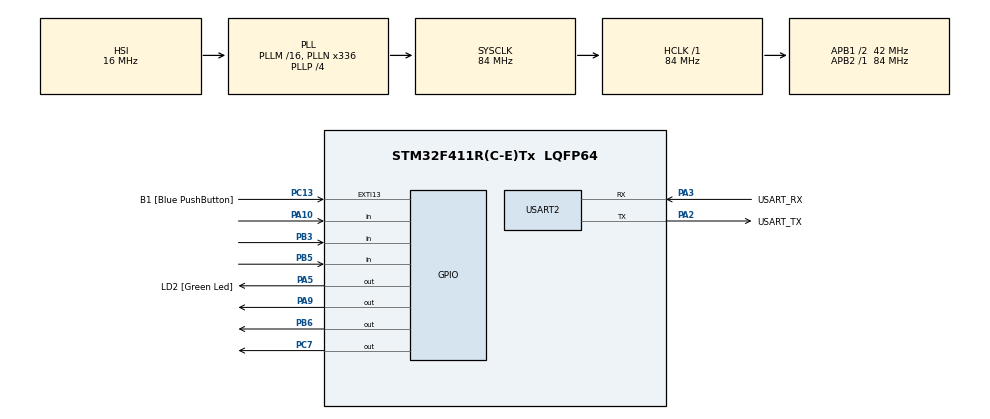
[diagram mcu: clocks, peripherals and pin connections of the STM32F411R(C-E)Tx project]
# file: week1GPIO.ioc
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Mcu.Family=STM32F4
Mcu.Name=STM32F411R(C-E)Tx
Mcu.Package=LQFP64
NVIC.PriorityGroup=NVIC_PRIORITYGROUP_0
PA10.Signal=GPIO_Input
PA13.GPIO_Label=TMS
PA13.Mode=Serial_Wire
PA13.Signal=SYS_JTMS-SWDIO
PA14.GPIO_Label=TCK
PA14.Mode=Serial_Wire
PA14.Signal=SYS_JTCK-SWCLK
PA2.GPIO_Label=USART_TX
PA2.Mode=Asynchronous
PA2.Signal=USART2_TX
PA3.GPIO_Label=USART_RX
PA3.Mode=Asynchronous
PA3.Signal=USART2_RX
PA5.GPIO_Label=LD2 [Green Led]
PA5.Signal=GPIO_Output
PA9.Signal=GPIO_Output
PB3.Signal=GPIO_Input
PB5.Signal=GPIO_Input
PB6.Signal=GPIO_Output
PC13-ANTI_TAMP.GPIO_Label=B1 [Blue PushButton]
PC13-ANTI_TAMP.GPIO_ModeDefaultEXTI=GPIO_MODE_IT_FALLING
PC13-ANTI_TAMP.Signal=GPXTI13
PC14-OSC32_IN.Mode=LSE-External-Oscillator
PC14-OSC32_IN.Signal=RCC_OSC32_IN
PC15-OSC32_OUT.Mode=LSE-External-Oscillator
PC15-OSC32_OUT.Signal=RCC_OSC32_OUT
PC7.Signal=GPIO_Output
PH0\ -\ OSC_IN.Mode=HSE-External-Clock-Source
PH0\ -\ OSC_IN.Signal=RCC_OSC_IN
PH1\ -\ OSC_OUT.Mode=HSE-External-Clock-Source
PH1\ -\ OSC_OUT.Signal=RCC_OSC_OUT
ProjectManager.HeapSize=0x200
ProjectManager.StackSize=0x400
ProjectManager.TargetToolchain=STM32CubeIDE
RCC.48MHZClocksFreq_Value=84000000
RCC.AHBFreq_Value=84000000
RCC.APB1CLKDivider=RCC_HCLK_DIV2
RCC.APB1Freq_Value=42000000
RCC.APB1TimFreq_Value=84000000
RCC.APB2Freq_Value=84000000
RCC.APB2TimFreq_Value=84000000
RCC.CortexFreq_Value=84000000
RCC.FLatency-AdvancedSettings=FLASH_LATENCY_2
RCC.HCLKFreq_Value=84000000
RCC.HSE_VALUE=8000000
RCC.HSI_VALUE=16000000
RCC.PLLN=336
RCC.PLLP=RCC_PLLP_DIV4
RCC.SYSCLKFreq_VALUE=84000000
RCC.SYSCLKSource=RCC_SYSCLKSOURCE_PLLCLK
RCC.VCOOutputFreq_Value=336000000
USART2.VirtualMode=VM_ASYNC
board=NUCLEO-F411RE

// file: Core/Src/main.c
/* USER CODE BEGIN Header */
/**
  ******************************************************************************
  * @file           : main.c
  * @brief          : Main program body
  ******************************************************************************
  * @attention
  *
  * <h2><center>&copy; Copyright (c) 2021 STMicroelectronics.
  * All rights reserved.</center></h2>
  *
  * This software component is licensed by ST under BSD 3-Clause license,
  * the "License"; You may not use this file except in compliance with the
  * License. You may obtain a copy of the License at:
  *                        opensource.org/licenses/BSD-3-Clause
  *
  ******************************************************************************
  */
/* USER CODE END Header */
#include "main.h"

UART_HandleTypeDef huart2;

void SystemClock_Config(void);
static void MX_GPIO_Init(void);
static void MX_USART2_UART_Init(void);

int main(void)
{
  /* USER CODE BEGIN 1 */
	// kuy

  /* USER CODE END 1 */

  /* MCU Configuration--------------------------------------------------------*/

  /* Reset of all peripherals, Initializes the Flash interface and the Systick. */
  HAL_Init();

  /* Configure the system clock */
  SystemClock_Config();

  /* Initialize all configured peripherals */
  MX_GPIO_Init();
  MX_USART2_UART_Init();
  /* USER CODE BEGIN 2 */
  GPIO_PinState SwitchState1[2] ; //NOW,last
  GPIO_PinState SwitchState2[2] ;
  GPIO_PinState SwitchState3[2] ;
  uint16_t LED3_state= 0;
  uint16_t LED1_haftT= 1000;//0.5hz
  uint16_t LED5_onT=500 ;
  uint16_t LED5_offT=1500 ;
  uint32_t runtime=0;
  uint32_t runtime2=0;
  uint32_t timestamp=0;
  uint32_t x=0;
  /* USER CODE END 2 */

  /* Infinite loop */
  /* USER CODE BEGIN WHILE */
  while (1)
  {
	  if (HAL_GetTick()- timestamp>=100)
	  { timestamp=HAL_GetTick();
	 SwitchState1[0]= HAL_GPIO_ReadPin(GPIOA, GPIO_PIN_10); //press == LOW
	 SwitchState2[0]= HAL_GPIO_ReadPin(GPIOB, GPIO_PIN_3);
	 SwitchState3[0]= HAL_GPIO_ReadPin(GPIOB, GPIO_PIN_5);
	 if (SwitchState1[1]== GPIO_PIN_SET && SwitchState1[0]== GPIO_PIN_RESET )
	 {
		 if(LED1_haftT==1000)
		 {
			 LED1_haftT=500;
		 }
		 else if (LED1_haftT==500)
		 { LED1_haftT=250;
		 }
		 else if (LED1_haftT==250)
		 { LED1_haftT=166;
		 }
		 else
		{
			 LED1_haftT = 1000 ;
		}
	 }
	 SwitchState1[1]=SwitchState1[0];
	 if (SwitchState2[1]== GPIO_PIN_SET && SwitchState2[0]== GPIO_PIN_RESET )
	 	 {
	 		LED3_state =(LED3_state^=1); //XOR
	 		HAL_GPIO_WritePin(GPIOC, GPIO_PIN_7, LED3_state);
	 	 }
	 	 SwitchState2[1]=SwitchState2[0];
	 	if (SwitchState3[1]== GPIO_PIN_SET && SwitchState3[0]== GPIO_PIN_RESET )
	 		 	 {
	 		 		uint16_t save_state= LED5_onT;
	 		 		LED5_onT=LED5_offT;
	 		 		LED5_offT=save_state;

	 		 	 }
	 		 	 SwitchState3[1]=SwitchState3[0];

	  }
	 if (HAL_GetTick()-runtime>= LED1_haftT)
	 {
		 runtime= HAL_GetTick();//ms
		 if (HAL_GPIO_ReadPin(GPIOA, GPIO_PIN_9)==0)
		 {
			 HAL_GPIO_WritePin(GPIOA, GPIO_PIN_9, 1);
		 }
		 else
		 {
			 HAL_GPIO_WritePin(GPIOA, GPIO_PIN_9, 0);
		 }
	 }
	 if (runtime2<=LED5_onT)
	 {
	 HAL_GPIO_WritePin(GPIOB, GPIO_PIN_6, 1);
	 }
	 else if (runtime2>=2000)
	 	 {
	 	  x=x+1;
	 	 }
	 else if (runtime2>=LED5_onT)
	 {
		 HAL_GPIO_WritePin(GPIOB, GPIO_PIN_6, 0);
	 }

	 runtime2=HAL_GetTick()-(x*2000);

//testbunch

//testmyyy

    /* USER CODE END WHILE */

  }
}

void SystemClock_Config(void)
{
  RCC_OscInitTypeDef RCC_OscInitStruct = {0};
  RCC_ClkInitTypeDef RCC_ClkInitStruct = {0};

  /** Configure the main internal regulator output voltage
  */
  __HAL_RCC_PWR_CLK_ENABLE();
  __HAL_PWR_VOLTAGESCALING_CONFIG(PWR_REGULATOR_VOLTAGE_SCALE1);
  /** Initializes the RCC Oscillators according to the specified parameters
  * in the RCC_OscInitTypeDef structure.
  */
  RCC_OscInitStruct.OscillatorType = RCC_OSCILLATORTYPE_HSI;
  RCC_OscInitStruct.HSIState = RCC_HSI_ON;
  RCC_OscInitStruct.HSICalibrationValue = RCC_HSICALIBRATION_DEFAULT;
  RCC_OscInitStruct.PLL.PLLState = RCC_PLL_ON;
  RCC_OscInitStruct.PLL.PLLSource = RCC_PLLSOURCE_HSI;
  RCC_OscInitStruct.PLL.PLLM = 16;
  RCC_OscInitStruct.PLL.PLLN = 336;
  RCC_OscInitStruct.PLL.PLLP = RCC_PLLP_DIV4;
  RCC_OscInitStruct.PLL.PLLQ = 4;
  if (HAL_RCC_OscConfig(&RCC_OscInitStruct) != HAL_OK)
  {
    Error_Handler();
  }
  /** Initializes the CPU, AHB and APB buses clocks
  */
  RCC_ClkInitStruct.ClockType = RCC_CLOCKTYPE_HCLK|RCC_CLOCKTYPE_SYSCLK
                              |RCC_CLOCKTYPE_PCLK1|RCC_CLOCKTYPE_PCLK2;
  RCC_ClkInitStruct.SYSCLKSource = RCC_SYSCLKSOURCE_PLLCLK;
  RCC_ClkInitStruct.AHBCLKDivider = RCC_SYSCLK_DIV1;
  RCC_ClkInitStruct.APB1CLKDivider = RCC_HCLK_DIV2;
  RCC_ClkInitStruct.APB2CLKDivider = RCC_HCLK_DIV1;

  if (HAL_RCC_ClockConfig(&RCC_ClkInitStruct, FLASH_LATENCY_2) != HAL_OK)
  {
    Error_Handler();
  }
}

static void MX_USART2_UART_Init(void)
{

  huart2.Instance = USART2;
  huart2.Init.BaudRate = 115200;
  huart2.Init.WordLength = UART_WORDLENGTH_8B;
  huart2.Init.StopBits = UART_STOPBITS_1;
  huart2.Init.Parity = UART_PARITY_NONE;
  huart2.Init.Mode = UART_MODE_TX_RX;
  huart2.Init.HwFlowCtl = UART_HWCONTROL_NONE;
  huart2.Init.OverSampling = UART_OVERSAMPLING_16;
  if (HAL_UART_Init(&huart2) != HAL_OK)
  {
    Error_Handler();
  }

}

static void MX_GPIO_Init(void)
{
  GPIO_InitTypeDef GPIO_InitStruct = {0};

  /* GPIO Ports Clock Enable */
  __HAL_RCC_GPIOC_CLK_ENABLE();
  __HAL_RCC_GPIOH_CLK_ENABLE();
  __HAL_RCC_GPIOA_CLK_ENABLE();
  __HAL_RCC_GPIOB_CLK_ENABLE();

  /*Configure GPIO pin Output Level */
  HAL_GPIO_WritePin(GPIOA, LD2_Pin|GPIO_PIN_9, GPIO_PIN_RESET);

  /*Configure GPIO pin Output Level */
  HAL_GPIO_WritePin(GPIOC, GPIO_PIN_7, GPIO_PIN_RESET);

  /*Configure GPIO pin Output Level */
  HAL_GPIO_WritePin(GPIOB, GPIO_PIN_6, GPIO_PIN_RESET);

  /*Configure GPIO pin : B1_Pin */
  GPIO_InitStruct.Pin = B1_Pin;
  GPIO_InitStruct.Mode = GPIO_MODE_IT_FALLING;
  GPIO_InitStruct.Pull = GPIO_NOPULL;
  HAL_GPIO_Init(B1_GPIO_Port, &GPIO_InitStruct);

  /*Configure GPIO pins : LD2_Pin PA9 */
  GPIO_InitStruct.Pin = LD2_Pin|GPIO_PIN_9;
  GPIO_InitStruct.Mode = GPIO_MODE_OUTPUT_PP;
  GPIO_InitStruct.Pull = GPIO_NOPULL;
  GPIO_InitStruct.Speed = GPIO_SPEED_FREQ_LOW;
  HAL_GPIO_Init(GPIOA, &GPIO_InitStruct);

  /*Configure GPIO pin : PC7 */
  GPIO_InitStruct.Pin = GPIO_PIN_7;
  GPIO_InitStruct.Mode = GPIO_MODE_OUTPUT_PP;
  GPIO_InitStruct.Pull = GPIO_NOPULL;
  GPIO_InitStruct.Speed = GPIO_SPEED_FREQ_LOW;
  HAL_GPIO_Init(GPIOC, &GPIO_InitStruct);

  /*Configure GPIO pin : PA10 */
  GPIO_InitStruct.Pin = GPIO_PIN_10;
  GPIO_InitStruct.Mode = GPIO_MODE_INPUT;
  GPIO_InitStruct.Pull = GPIO_NOPULL;
  HAL_GPIO_Init(GPIOA, &GPIO_InitStruct);

  /*Configure GPIO pins : PB3 PB5 */
  GPIO_InitStruct.Pin = GPIO_PIN_3|GPIO_PIN_5;
  GPIO_InitStruct.Mode = GPIO_MODE_INPUT;
  GPIO_InitStruct.Pull = GPIO_NOPULL;
  HAL_GPIO_Init(GPIOB, &GPIO_InitStruct);

  /*Configure GPIO pin : PB6 */
  GPIO_InitStruct.Pin = GPIO_PIN_6;
  GPIO_InitStruct.Mode = GPIO_MODE_OUTPUT_PP;
  GPIO_InitStruct.Pull = GPIO_NOPULL;
  GPIO_InitStruct.Speed = GPIO_SPEED_FREQ_LOW;
  HAL_GPIO_Init(GPIOB, &GPIO_InitStruct);

}

void Error_Handler(void)
{
  __disable_irq();
  while (1)
  {
  }
}

/************************ (C) COPYRIGHT STMicroelectronics *****END OF FILE****/
